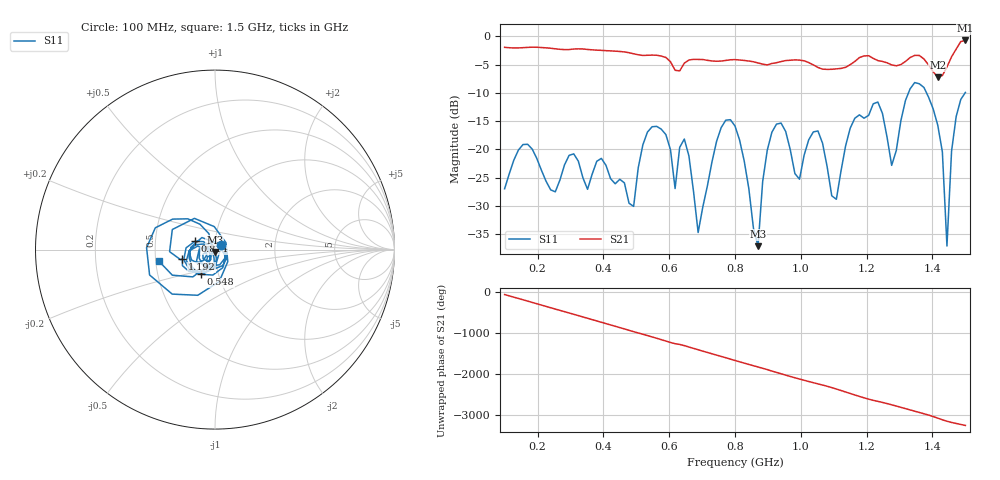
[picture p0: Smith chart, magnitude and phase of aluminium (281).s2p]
! NanoVNA-App
! Date: 2025-09-25 14:57:28
! Start: 100MHz Stop: 1,5GHz Points: 101
! S-Parameter data: F S11 S21 S12 S22
# Hz S RI R 50
!  Frequency  S11_Real  S11_Imag  S21_Real  S21_Imag  S12_Real  S12_Imag  S22_Real  S22_Imag
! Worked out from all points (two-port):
!   101 points, 100 MHz to 1.5 GHz, reference 50 ohm
!   highest |S21| = -0.70 dB at 1.5 GHz (marker M1); lowest = -7.2 dB at 1.416 GHz (marker M2)
!   |S21| within 3 dB of the highest: start of sweep to 589.6 MHz; 1.457 GHz to end of sweep (the widest 2 of 4)
!   lowest |S11| = -37.1 dB at 870 MHz (marker M3), VSWR 1.03, Z = 49.9 - j1.39 ohm
!   |S11| at or under -10 dB: start of sweep to 1.327 GHz; 1.382 GHz to 1.499 GHz (117 MHz wide, 8.12 % of centre)
!   S12 and S22 are empty: the file has one direction only
!   S11 on the Smith chart (normalised r, x): 100 MHz: 1.07, +0.06; 548 MHz: 0.82, -0.23; 814 MHz: 0.80, +0.07; 1.192 GHz: 0.69, -0.07; 1.5 GHz: 0.52, -0.07
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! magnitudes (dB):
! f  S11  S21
! 100 MHz  -27.0  -1.9
! 338 MHz  -25.0  -2.2
! 492 MHz  -30.1  -3.1
! 548 MHz  -16.0  -3.3
! 576 MHz  -16.4  -3.5
! 618 MHz  -26.9  -6.0
! 646 MHz  -18.2  -4.7
! 688 MHz  -34.7  -4.1
! 800 MHz  -15.8  -4.1
! 814 MHz  -18.4  -4.2
! 870 MHz  -37.1  -4.7
! 912 MHz  -17.0  -4.8
! 996 MHz  -25.3  -4.2
! 1.038 GHz  -16.9  -5.0
! 1.108 GHz  -28.8  -5.7
! 1.192 GHz  -14.5  -3.4
! 1.276 GHz  -22.8  -5.0
! 1.346 GHz  -8.2  -3.3
! 1.416 GHz  -15.7  -7.2
! 1.444 GHz  -37.1  -5.4
! 1.458 GHz  -20.3  -3.6
! 1.5 GHz  -9.9  -0.7
